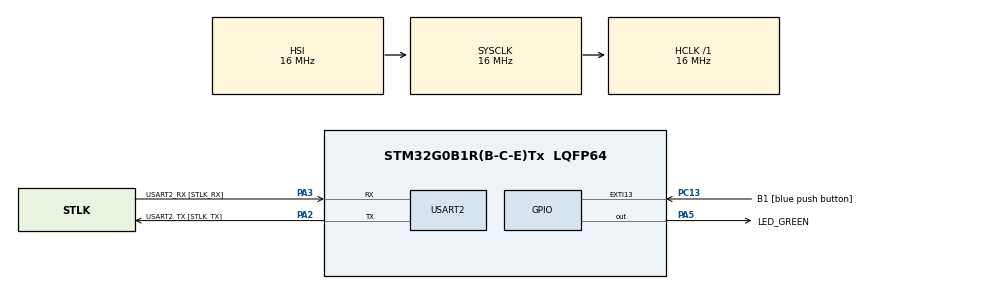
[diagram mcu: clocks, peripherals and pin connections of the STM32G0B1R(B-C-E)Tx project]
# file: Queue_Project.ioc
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FREERTOS.Queues01=Queue2,16,uint16_t,0,Dynamic,NULL,NULL
FREERTOS.Tasks01=defaultTask,24,128,StartDefaultTask,Default,NULL,Dynamic,NULL,NULL;Sender1,8,128,StartSender1,Default,NULL,Dynamic,NULL,NULL;Sender2,8,128,StartSender2,Default,NULL,Dynamic,NULL,NULL;Receiver,8,128,StartReceiver,Default,NULL,Dynamic,NULL,NULL;MonitorTask,8,128,StartMonitorTask,Default,NULL,Dynamic,NULL,NULL;DoorTask,8,128,StartDoorTask,Default,NULL,Dynamic,NULL,NULL;CoolerTask,8,128,StartCoolerTask,Default,NULL,Dynamic,NULL,NULL
FREERTOS.configTOTAL_HEAP_SIZE=15360
FREERTOS.configUSE_NEWLIB_REENTRANT=1
Mcu.Family=STM32G0
Mcu.Name=STM32G0B1R(B-C-E)Tx
Mcu.Package=LQFP64
NVIC.TIM6_DAC_LPTIM1_IRQn=true\:3\:0\:false\:false\:true\:false\:false\:true\:true
NVIC.TimeBase=TIM6_DAC_LPTIM1_IRQn
NVIC.TimeBaseIP=TIM6
PA13.GPIO_Label=TMS
PA13.Mode=Serial_Wire
PA13.Signal=SYS_SWDIO
PA14-BOOT0.GPIO_Label=TCK
PA14-BOOT0.Mode=Serial_Wire
PA14-BOOT0.Signal=SYS_SWCLK
PA2.GPIO_Label=USART2_TX [STLK_TX]
PA2.Mode=Asynchronous
PA2.Signal=USART2_TX
PA3.GPIO_Label=USART2_RX [STLK_RX]
PA3.Mode=Asynchronous
PA3.Signal=USART2_RX
PA5.GPIO_Label=LED_GREEN
PA5.GPIO_Speed=GPIO_SPEED_FREQ_HIGH
PA5.Signal=GPIO_Output
PC13.GPIO_Label=B1 [blue push button]
PC13.Signal=GPXTI13
PC14-OSC32_IN\ (PC14).Mode=LSE-External-Oscillator
PC14-OSC32_IN\ (PC14).Signal=RCC_OSC32_IN
PC15-OSC32_OUT\ (PC15).Mode=LSE-External-Oscillator
PC15-OSC32_OUT\ (PC15).Signal=RCC_OSC32_OUT
PF0-OSC_IN\ (PF0).GPIO_Label=MCO
PF0-OSC_IN\ (PF0).Mode=HSE-External-Clock-Source
PF0-OSC_IN\ (PF0).Signal=RCC_OSC_IN
ProjectManager.HeapSize=0x200
ProjectManager.StackSize=0x400
ProjectManager.TargetToolchain=STM32CubeIDE
RCC.AHBFreq_Value=16000000
RCC.CortexFreq_Value=16000000
RCC.EXTERNAL_CLOCK_VALUE=12288000
RCC.HCLKFreq_Value=16000000
RCC.HSE_VALUE=8000000
RCC.HSI48_VALUE=48000000
RCC.HSI_VALUE=16000000
RCC.SYSCLKFreq_VALUE=16000000
RCC.USBFreq_Value=48000000
RCC.VCOOutputFreq_Value=128000000
USART2.VirtualMode-Asynchronous=VM_ASYNC
VP_FREERTOS_VS_CMSIS_V2.Mode=CMSIS_V2
VP_SYS_VS_DBSignals.Mode=DisableDeadBatterySignals
VP_SYS_VS_tim6.Mode=TIM6
board=NUCLEO-G0B1RE

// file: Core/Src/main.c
/* USER CODE BEGIN Header */
/**
  ******************************************************************************
  * @file           : main.c
  * @brief          : Main program body
  ******************************************************************************
  * @attention
  *
  * Copyright (c) 2026 STMicroelectronics.
  * All rights reserved.
  *
  * This software is licensed under terms that can be found in the LICENSE file
  * in the root directory of this software component.
  * If no LICENSE file comes with this software, it is provided AS-IS.
  *
  ******************************************************************************
  */
/* USER CODE END Header */
#include "main.h"
#include "cmsis_os.h"

/* USER CODE BEGIN Includes */
#include <stdio.h>
#include <string.h>
/* USER CODE END Includes */

UART_HandleTypeDef huart2;

/* Definitions for defaultTask */
osThreadId_t defaultTaskHandle;
const osThreadAttr_t defaultTask_attributes = {
  .name = "defaultTask",
  .priority = (osPriority_t) osPriorityNormal,
  .stack_size = 128 * 4
};
/* Definitions for Sender1 */
osThreadId_t Sender1Handle;
const osThreadAttr_t Sender1_attributes = {
  .name = "Sender1",
  .priority = (osPriority_t) osPriorityLow,
  .stack_size = 128 * 4
};
/* Definitions for Sender2 */
osThreadId_t Sender2Handle;
const osThreadAttr_t Sender2_attributes = {
  .name = "Sender2",
  .priority = (osPriority_t) osPriorityLow,
  .stack_size = 128 * 4
};
/* Definitions for Receiver */
osThreadId_t ReceiverHandle;
const osThreadAttr_t Receiver_attributes = {
  .name = "Receiver",
  .priority = (osPriority_t) osPriorityNormal,
  .stack_size = 128 * 4
};
/* USER CODE BEGIN PV */
osMessageQueueId_t qHandle;
/* USER CODE END PV */

void SystemClock_Config(void);
static void MX_GPIO_Init(void);
static void MX_USART2_UART_Init(void);
void StartDefaultTask(void *argument);
void StartSender1(void *argument);
void StartSender2(void *argument);
void StartReceiver(void *argument);

/* USER CODE BEGIN PFP */
static void uart_print(const char *s);
/* USER CODE END PFP */

/* USER CODE BEGIN 0 */
static void uart_print(const char *s)
{
	HAL_UART_Transmit(&huart2, (uint8_t*)s, (uint16_t)strlen(s), 100);
}
/* USER CODE END 0 */

int main(void)
{

  /* MCU Configuration--------------------------------------------------------*/

  /* Reset of all peripherals, Initializes the Flash interface and the Systick. */
  HAL_Init();

  /* Configure the system clock */
  SystemClock_Config();

  /* Initialize all configured peripherals */
  MX_GPIO_Init();
  MX_USART2_UART_Init();

  /* Init scheduler */
  osKernelInitialize();

  /* USER CODE BEGIN RTOS_QUEUES */
  /* add queues, ... */
  qHandle = osMessageQueueNew(5, sizeof(uint16_t), NULL);
  /* USER CODE END RTOS_QUEUES */

  /* Create the thread(s) */
  /* creation of defaultTask */
  defaultTaskHandle = osThreadNew(StartDefaultTask, NULL, &defaultTask_attributes);

  /* creation of Sender1 */
  Sender1Handle = osThreadNew(StartSender1, NULL, &Sender1_attributes);

  /* creation of Sender2 */
  Sender2Handle = osThreadNew(StartSender2, NULL, &Sender2_attributes);

  /* creation of Receiver */
  ReceiverHandle = osThreadNew(StartReceiver, NULL, &Receiver_attributes);

  /* Start scheduler */
  osKernelStart();

  /* We should never get here as control is now taken by the scheduler */

  /* Infinite loop */
  while (1)
  {

  }
}

void SystemClock_Config(void)
{
  RCC_OscInitTypeDef RCC_OscInitStruct = {0};
  RCC_ClkInitTypeDef RCC_ClkInitStruct = {0};

  /** Configure the main internal regulator output voltage
  */
  HAL_PWREx_ControlVoltageScaling(PWR_REGULATOR_VOLTAGE_SCALE1);

  /** Initializes the RCC Oscillators according to the specified parameters
  * in the RCC_OscInitTypeDef structure.
  */
  RCC_OscInitStruct.OscillatorType = RCC_OSCILLATORTYPE_HSI;
  RCC_OscInitStruct.HSIState = RCC_HSI_ON;
  RCC_OscInitStruct.HSIDiv = RCC_HSI_DIV1;
  RCC_OscInitStruct.HSICalibrationValue = RCC_HSICALIBRATION_DEFAULT;
  RCC_OscInitStruct.PLL.PLLState = RCC_PLL_NONE;
  if (HAL_RCC_OscConfig(&RCC_OscInitStruct) != HAL_OK)
  {
    Error_Handler();
  }

  /** Initializes the CPU, AHB and APB buses clocks
  */
  RCC_ClkInitStruct.ClockType = RCC_CLOCKTYPE_HCLK|RCC_CLOCKTYPE_SYSCLK
                              |RCC_CLOCKTYPE_PCLK1;
  RCC_ClkInitStruct.SYSCLKSource = RCC_SYSCLKSOURCE_HSI;
  RCC_ClkInitStruct.AHBCLKDivider = RCC_SYSCLK_DIV1;
  RCC_ClkInitStruct.APB1CLKDivider = RCC_HCLK_DIV1;

  if (HAL_RCC_ClockConfig(&RCC_ClkInitStruct, FLASH_LATENCY_0) != HAL_OK)
  {
    Error_Handler();
  }
}

static void MX_USART2_UART_Init(void)
{

  huart2.Instance = USART2;
  huart2.Init.BaudRate = 115200;
  huart2.Init.WordLength = UART_WORDLENGTH_8B;
  huart2.Init.StopBits = UART_STOPBITS_1;
  huart2.Init.Parity = UART_PARITY_NONE;
  huart2.Init.Mode = UART_MODE_TX_RX;
  huart2.Init.HwFlowCtl = UART_HWCONTROL_NONE;
  huart2.Init.OverSampling = UART_OVERSAMPLING_16;
  huart2.Init.OneBitSampling = UART_ONE_BIT_SAMPLE_DISABLE;
  huart2.Init.ClockPrescaler = UART_PRESCALER_DIV1;
  huart2.AdvancedInit.AdvFeatureInit = UART_ADVFEATURE_NO_INIT;
  if (HAL_UART_Init(&huart2) != HAL_OK)
  {
    Error_Handler();
  }
  if (HAL_UARTEx_SetTxFifoThreshold(&huart2, UART_TXFIFO_THRESHOLD_1_8) != HAL_OK)
  {
    Error_Handler();
  }
  if (HAL_UARTEx_SetRxFifoThreshold(&huart2, UART_RXFIFO_THRESHOLD_1_8) != HAL_OK)
  {
    Error_Handler();
  }
  if (HAL_UARTEx_DisableFifoMode(&huart2) != HAL_OK)
  {
    Error_Handler();
  }

}

static void MX_GPIO_Init(void)
{
  GPIO_InitTypeDef GPIO_InitStruct = {0};

  /* GPIO Ports Clock Enable */
  __HAL_RCC_GPIOC_CLK_ENABLE();
  __HAL_RCC_GPIOF_CLK_ENABLE();
  __HAL_RCC_GPIOA_CLK_ENABLE();

  /*Configure GPIO pin Output Level */
  HAL_GPIO_WritePin(LED_GREEN_GPIO_Port, LED_GREEN_Pin, GPIO_PIN_RESET);

  /*Configure GPIO pin : B1_Pin */
  GPIO_InitStruct.Pin = B1_Pin;
  GPIO_InitStruct.Mode = GPIO_MODE_IT_RISING;
  GPIO_InitStruct.Pull = GPIO_NOPULL;
  HAL_GPIO_Init(B1_GPIO_Port, &GPIO_InitStruct);

  /*Configure GPIO pin : LED_GREEN_Pin */
  GPIO_InitStruct.Pin = LED_GREEN_Pin;
  GPIO_InitStruct.Mode = GPIO_MODE_OUTPUT_PP;
  GPIO_InitStruct.Pull = GPIO_NOPULL;
  GPIO_InitStruct.Speed = GPIO_SPEED_FREQ_HIGH;
  HAL_GPIO_Init(LED_GREEN_GPIO_Port, &GPIO_InitStruct);

}

void StartDefaultTask(void *argument)
{
  for(;;)
  {
    osDelay(1);
  }
}

void StartSender1(void *argument)
{
  /* USER CODE BEGIN StartSender1 */
	uint16_t value = 100;
	char msg[64];

  /* Infinite loop */
  for(;;)
  {
	  osStatus_t st = osMessageQueuePut(qHandle, &value, 0, 0);
	  if (st != osOK)
	  {
		  snprintf(msg, sizeof(msg), "Sender1 : Queue Full \r\n");
		  uart_print(msg);
	  }
	  osDelay(1000);
  }
  /* USER CODE END StartSender1 */
}

void StartSender2(void *argument)
{
  /* USER CODE BEGIN StartSender2 */
	uint16_t value = 200;
	char msg[64];
  /* Infinite loop */
	for(;;)
	  {
		  osStatus_t st = osMessageQueuePut(qHandle, &value, 0, 0);
		  if (st != osOK)
		  {
			  snprintf(msg, sizeof(msg), "Sender2 : Queue Full \r\n");
			  uart_print(msg);
		  }
		  osDelay(1000);
	  }
  /* USER CODE END StartSender2 */
}

void StartReceiver(void *argument)
{
  /* USER CODE BEGIN StartReceiver */
	uint16_t rx;
	uint8_t prio;
	char msg[64];
  /* Infinite loop */
  for(;;)
  {
	  osStatus_t st = osMessageQueueGet(qHandle, &rx, &prio, osWaitForever);
	  if (st == osOK)
	  {
		  snprintf(msg, sizeof(msg), "Received : %u \r\n", (unsigned int)rx);
		  uart_print(msg);
	  }
	  else
	  {
		  snprintf(msg, sizeof(msg), "Receiver : Queue Empty \r\n");
		  uart_print(msg);
	  }
  }
  /* USER CODE END StartReceiver */
}

void HAL_TIM_PeriodElapsedCallback(TIM_HandleTypeDef *htim)
{
  if (htim->Instance == TIM6) {
    HAL_IncTick();
  }
}

void Error_Handler(void)
{
  __disable_irq();
  while (1)
  {
  }
}
